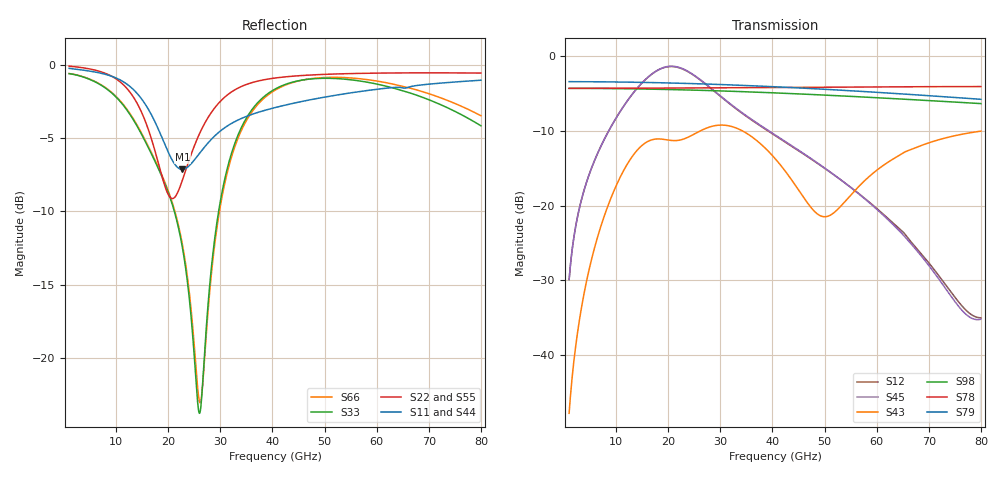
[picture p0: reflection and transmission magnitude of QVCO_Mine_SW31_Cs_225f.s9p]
! Touchstone Ver. 1.0
! Number of ports is 9
# Hz	S	RI	R	50.000000
! SCATTERING PARAMETERS  :
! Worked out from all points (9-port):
!   1001 points, 1 GHz to 80 GHz, reference 50 ohm
!   strongest paths, dB at 1 GHz, 20.75 GHz, 40.5 GHz, 60.25 GHz, 80 GHz:
!     S79: -3.4, -3.6, -4.1, -4.8, -5.8
!     S78: -4.3, -4.2, -4.2, -4.1, -4.0
!     S98: -4.3, -4.4, -4.9, -5.5, -6.3
!     S43: -47.8, -11.3, -13.7, -15.1, -10.0
!     S45: -29.9, -1.3, -10.5, -20.6, -35.2
!     S12: -29.9, -1.4, -10.6, -20.5, -35.0
!   lowest |S11| = -7.1 dB at 22.73 GHz (marker M1), VSWR 2.57, Z = 38 + j41 ohm
!   |S11| at or under -10 dB: nowhere
